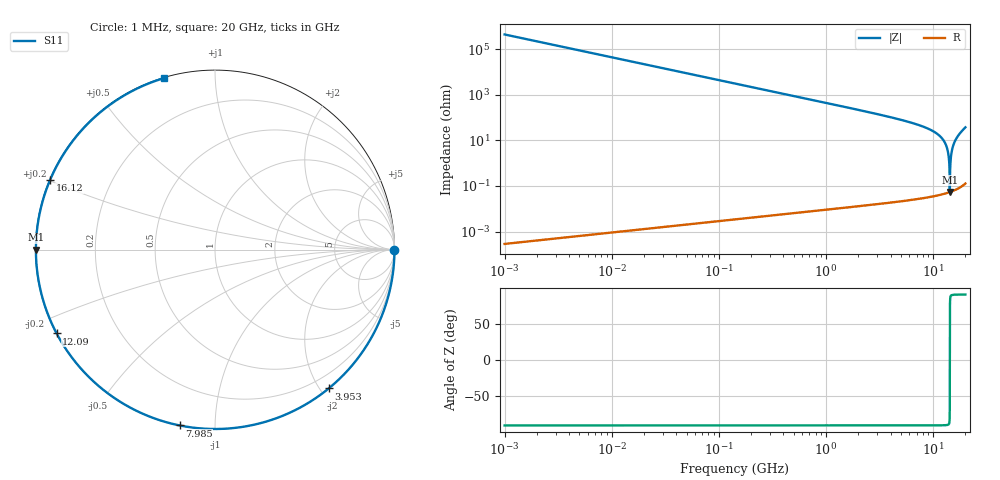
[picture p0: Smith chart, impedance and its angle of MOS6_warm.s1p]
# GHz S RI R 50
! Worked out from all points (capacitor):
!   10001 points, 1 MHz to 20 GHz, reference 50 ohm
!   read as one part to ground: C = 358 fF near 101 MHz
!   lowest |Z| = 54 mohm at 14.32 GHz (marker M1)
!   series resonance near 14.32 GHz, so ESL is about 350 pH
!   S11 on the Smith chart (normalised r, x): 1 MHz: open; 3.953 GHz: 0.00, -2.11; 7.985 GHz: 0.00, -0.82; 12.09 GHz: 0.00, -0.25; 16.12 GHz: 0.00, +0.20; 20 GHz: 0.00, +0.75
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0.001  1 -0.000225
0.615  0.9905 -0.1378
1.233  0.9618 -0.2736
1.859  0.9141 -0.4055
2.501  0.8465 -0.5323
3.207  0.7524 -0.6586
3.953  0.6333 -0.7738
5.001  0.4384 -0.8985
5.633  0.3095 -0.9506
6.257  0.1769 -0.9838
6.879  0.0419 -0.9986
7.501  -0.0933 -0.995
7.985  -0.1971 -0.9797
8.975  -0.4009 -0.9152
10.001  -0.592 -0.8046
11.075  -0.7607 -0.647
12.085  -0.8825 -0.467
12.501  -0.9208 -0.3857
13.419  -0.9787 -0.1955
14.321  -0.9978 8.86e-05
15.001  -0.9865 0.1489
16.123  -0.919 0.3876
16.805  -0.849 0.5231
17.501  -0.7564 0.6498
18.175  -0.6478 0.7578
18.815  -0.5297 0.8445
19.445  -0.4013 0.9125
20.001  -0.2801 0.9566
